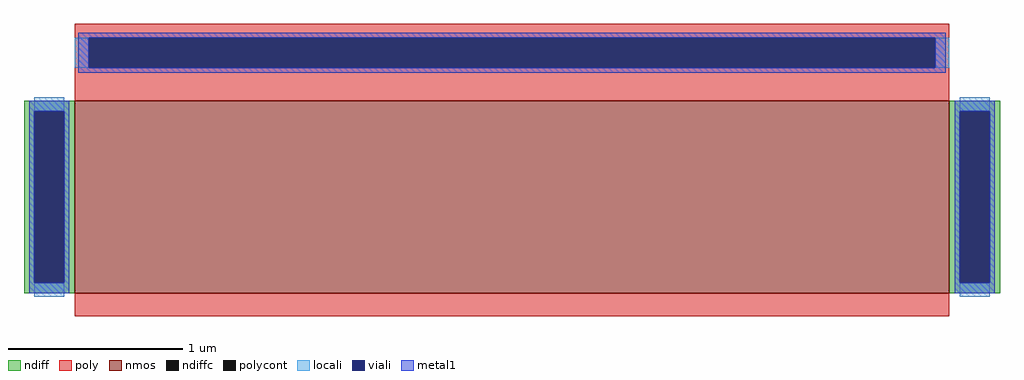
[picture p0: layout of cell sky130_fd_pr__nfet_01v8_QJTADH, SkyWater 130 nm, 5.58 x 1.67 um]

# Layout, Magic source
magic
tech sky130A
magscale 1 2
<< nmos >>
rect -500 -141 500 79
<< ndiff >>
rect -558 67 -500 79
rect -558 -129 -546 67
rect -512 -129 -500 67
rect -558 -141 -500 -129
rect 500 67 558 79
rect 500 -129 512 67
rect 546 -129 558 67
rect 500 -141 558 -129
<< ndiffc >>
rect -546 -129 -512 67
rect 512 -129 546 67
<< poly >>
rect -500 151 500 167
rect -500 117 -484 151
rect 484 117 500 151
rect -500 79 500 117
rect -500 -167 500 -141
<< polycont >>
rect -484 117 484 151
<< locali >>
rect -500 117 -484 151
rect 484 117 500 151
rect -546 67 -512 83
rect -546 -145 -512 -129
rect 512 67 546 83
rect 512 -145 546 -129
<< viali >>
rect -484 117 484 151
rect -546 -129 -512 67
rect 512 -129 546 67
<< metal1 >>
rect -496 151 496 157
rect -496 117 -484 151
rect 484 117 496 151
rect -496 111 496 117
rect -552 67 -506 79
rect -552 -129 -546 67
rect -512 -129 -506 67
rect -552 -141 -506 -129
rect 506 67 552 79
rect 506 -129 512 67
rect 546 -129 552 67
rect 506 -141 552 -129
<< properties >>
string gencell sky130_fd_pr__nfet_01v8
string library sky130
string parameters w 1.1 l 5 m 1 nf 1 diffcov 100 polycov 100 guard 0 glc 0 grc 0 gtc 0 gbc 0 tbcov 100 rlcov 100 topc 1 botc 0 poverlap 0 doverlap 1 lmin 0.15 wmin 0.42 compatible {sky130_fd_pr__nfet_01v8 sky130_fd_pr__nfet_01v8_lvt  sky130_fd_bs_flash__special_sonosfet_star  sky130_fd_pr__nfet_g5v0d10v5 sky130_fd_pr__nfet_05v0_nvt  sky130_fd_pr__nfet_03v3_nvt} full_metal 0 viasrc 100 viadrn 100 viagate 100 viagb 0 viagr 0 viagl 0 viagt 0
<< end >>
